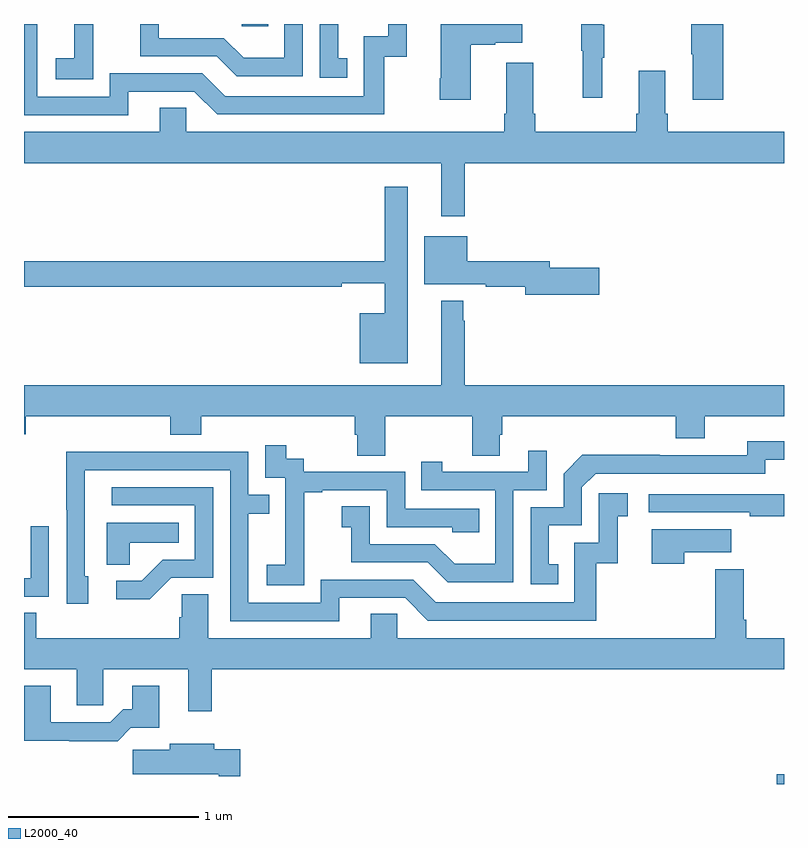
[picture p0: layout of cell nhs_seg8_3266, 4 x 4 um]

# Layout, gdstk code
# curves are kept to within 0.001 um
import gdstk
lib = gdstk.Library(unit=1e-6, precision=1e-09)
def R(c, l, rs):  # rectangles x0, y0, x1, y1
    for r in rs: c.add(gdstk.rectangle(r[:2], r[2:], *l))
def P(c, l, *ps):  # polygons
    for p in ps: c.add(gdstk.Polygon(p, *l))
L2000_40 = (2000, 40)

nhs_seg8_3266 = lib.new_cell('nhs_seg8_3266')
R(nhs_seg8_3266, L2000_40, [(316.962,1111.9,317,1111.952), (314.145,1115.889,314.285,1115.9)])
P(nhs_seg8_3266, L2000_40, [(316.679,1115.9),(316.513,1115.9),(316.513,1115.74),(316.52,1115.74),(316.52,1115.502),(316.679,1115.502)],
  [(313.549,1115.544),(313.896,1115.544),(314.016,1115.424),(314.896,1115.424),(314.896,1115.727),(315.014,1115.727),(315.014,1115.9),(314.916,1115.9),(314.916,1115.835),(314.787,1115.835),(314.787,1115.52),(314.058,1115.52),(313.938,1115.64),(313.452,1115.64),(313.452,1115.517),(313.071,1115.517),(313.071,1115.9),(313,1115.9),(313,1115.421),(313.549,1115.421)],
  [(316.043,1115.723),(316.054,1115.723),(316.054,1115.897),(316.043,1115.897),(316.043,1115.9),(315.933,1115.9),(315.933,1115.76),(315.94,1115.76),(315.94,1115.511),(316.043,1115.511)],
  [(314.466,1115.9),(314.37,1115.9),(314.37,1115.722),(314.156,1115.722),(314.052,1115.826),(313.71,1115.826),(313.71,1115.9),(313.612,1115.9),(313.612,1115.73),(314.015,1115.73),(314.12,1115.625),(314.466,1115.625)],
  [(315.352,1115.791),(315.479,1115.791),(315.479,1115.801),(315.622,1115.801),(315.622,1115.9),(315.194,1115.9),(315.194,1115.614),(315.187,1115.614),(315.187,1115.502),(315.352,1115.502)],
  [(313.365,1115.815),(313.364,1115.815),(313.364,1115.9),(313.265,1115.9),(313.265,1115.719),(313.167,1115.719),(313.167,1115.609),(313.365,1115.609)],
  [(314.702,1115.721),(314.653,1115.721),(314.653,1115.9),(314.556,1115.9),(314.556,1115.616),(314.702,1115.616)],
  [(315.319,1115.168),(317,1115.168),(317,1115.332),(316.388,1115.332),(316.388,1115.428),(316.375,1115.428),(316.375,1115.653),(316.235,1115.653),(316.235,1115.428),(316.223,1115.428),(316.223,1115.332),(315.692,1115.332),(315.692,1115.428),(315.679,1115.428),(315.679,1115.695),(315.539,1115.695),(315.539,1115.428),(315.527,1115.428),(315.527,1115.332),(313.854,1115.332),(313.854,1115.459),(313.715,1115.459),(313.715,1115.332),(313,1115.332),(313,1115.168),(315.197,1115.168),(315.197,1114.887),(315.319,1114.887)],
  [(315.019,1115.044),(314.898,1115.044),(314.898,1114.652),(313,1114.652),(313,1114.516),(314.672,1114.516),(314.672,1114.535),(314.898,1114.535),(314.898,1114.378),(314.768,1114.378),(314.768,1114.115),(315.019,1114.115)],
  [(316.027,1114.616),(315.766,1114.616),(315.766,1114.652),(315.334,1114.652),(315.334,1114.783),(315.107,1114.783),(315.107,1114.529),(315.43,1114.529),(315.43,1114.516),(315.638,1114.516),(315.638,1114.474),(316.027,1114.474)],
  [(314.901,1113.836),(315.358,1113.836),(315.358,1113.628),(315.505,1113.628),(315.505,1113.738),(315.518,1113.738),(315.518,1113.836),(316.43,1113.836),(316.43,1113.719),(316.582,1113.719),(316.582,1113.836),(317,1113.836),(317,1114),(315.319,1114),(315.319,1114.337),(315.312,1114.337),(315.312,1114.444),(315.197,1114.444),(315.197,1114),(313,1114),(313,1113.74),(313.01,1113.74),(313.01,1113.836),(313.769,1113.836),(313.769,1113.737),(313.934,1113.737),(313.934,1113.836),(314.741,1113.836),(314.741,1113.738),(314.753,1113.738),(314.753,1113.628),(314.901,1113.628)],
  [(315.812,1113.057),(315.763,1113.057),(315.763,1113.261),(315.936,1113.261),(315.936,1113.462),(316.008,1113.534),(316.902,1113.534),(316.902,1113.606),(317,1113.606),(317,1113.703),(316.806,1113.703),(316.806,1113.63),(316.346,1113.63),(316.346,1113.632),(315.938,1113.632),(315.84,1113.534),(315.84,1113.357),(315.666,1113.357),(315.666,1112.952),(315.812,1112.952)],
  [(314.475,1113.151),(314.474,1113.151),(314.474,1113.435),(314.569,1113.435),(314.569,1113.447),(314.91,1113.447),(314.91,1113.252),(315.255,1113.252),(315.255,1113.225),(315.395,1113.225),(315.395,1113.348),(315.006,1113.348),(315.006,1113.543),(314.472,1113.543),(314.472,1113.612),(314.38,1113.612),(314.38,1113.682),(314.271,1113.682),(314.271,1113.513),(314.376,1113.513),(314.376,1113.284),(314.375,1113.284),(314.375,1113.055),(314.277,1113.055),(314.277,1112.945),(314.475,1112.945)],
  [(315.576,1113.447),(315.75,1113.447),(315.75,1113.655),(315.653,1113.655),(315.653,1113.543),(315.202,1113.543),(315.202,1113.595),(315.091,1113.595),(315.091,1113.447),(315.48,1113.447),(315.48,1113.058),(315.266,1113.058),(315.162,1113.162),(314.82,1113.162),(314.82,1113.361),(314.673,1113.361),(314.673,1113.251),(314.722,1113.251),(314.722,1113.066),(315.125,1113.066),(315.23,1112.961),(315.576,1112.961)],
  [(314.659,1112.88),(315.006,1112.88),(315.126,1112.76),(316.013,1112.76),(316.013,1113.063),(316.124,1113.063),(316.124,1113.309),(316.177,1113.309),(316.177,1113.43),(316.026,1113.43),(316.026,1113.171),(315.897,1113.171),(315.897,1112.856),(315.168,1112.856),(315.048,1112.976),(314.562,1112.976),(314.562,1112.853),(314.181,1112.853),(314.181,1113.322),(314.291,1113.322),(314.291,1113.423),(314.181,1113.423),(314.181,1113.648),(313.685,1113.648),(313.685,1113.65),(313.222,1113.65),(313.222,1113.343),(313.224,1113.343),(313.224,1112.85),(313.339,1112.85),(313.339,1112.994),(313.32,1112.994),(313.32,1113.552),(314.085,1113.552),(314.085,1112.757),(314.659,1112.757)],
  [(313.776,1112.985),(313.995,1112.985),(313.995,1113.462),(313.461,1113.462),(313.461,1113.366),(313.899,1113.366),(313.899,1113.081),(313.73,1113.081),(313.619,1112.97),(313.485,1112.97),(313.485,1112.873),(313.663,1112.873)],
  [(317,1113.426),(316.287,1113.426),(316.287,1113.33),(316.819,1113.33),(316.819,1113.31),(317,1113.31)],
  [(313.557,1113.17),(313.814,1113.17),(313.814,1113.274),(313.436,1113.274),(313.436,1113.055),(313.557,1113.055)],
  [(313.131,1113.256),(313.035,1113.256),(313.035,1112.982),(313,1112.982),(313,1112.886),(313.131,1112.886)],
  [(316.475,1113.119),(316.723,1113.119),(316.723,1113.241),(316.304,1113.241),(316.304,1113.06),(316.475,1113.06)],
  [(313.987,1112.504),(317,1112.504),(317,1112.668),(316.802,1112.668),(316.802,1112.764),(316.789,1112.764),(316.789,1113.031),(316.637,1113.031),(316.637,1112.668),(314.964,1112.668),(314.964,1112.795),(314.825,1112.795),(314.825,1112.668),(313.969,1112.668),(313.969,1112.9),(313.83,1112.9),(313.83,1112.777),(313.817,1112.777),(313.817,1112.668),(313.064,1112.668),(313.064,1112.801),(313,1112.801),(313,1112.504),(313.277,1112.504),(313.277,1112.314),(313.416,1112.314),(313.416,1112.504),(313.865,1112.504),(313.865,1112.283),(313.987,1112.283)],
  [(313.562,1112.195),(313.711,1112.195),(313.711,1112.416),(313.571,1112.416),(313.571,1112.293),(313.522,1112.293),(313.455,1112.226),(313.141,1112.226),(313.141,1112.416),(313.001,1112.416),(313,1112.128),(313.237,1112.128),(313.237,1112.126),(313.493,1112.126)],
  [(314.137,1112.082),(314.002,1112.082),(314.002,1112.113),(313.766,1112.113),(313.766,1112.081),(313.572,1112.081),(313.572,1111.952),(314.024,1111.952),(314.024,1111.94),(314.137,1111.94)])

lib.write_gds('nhs_seg8_3266.gds')
